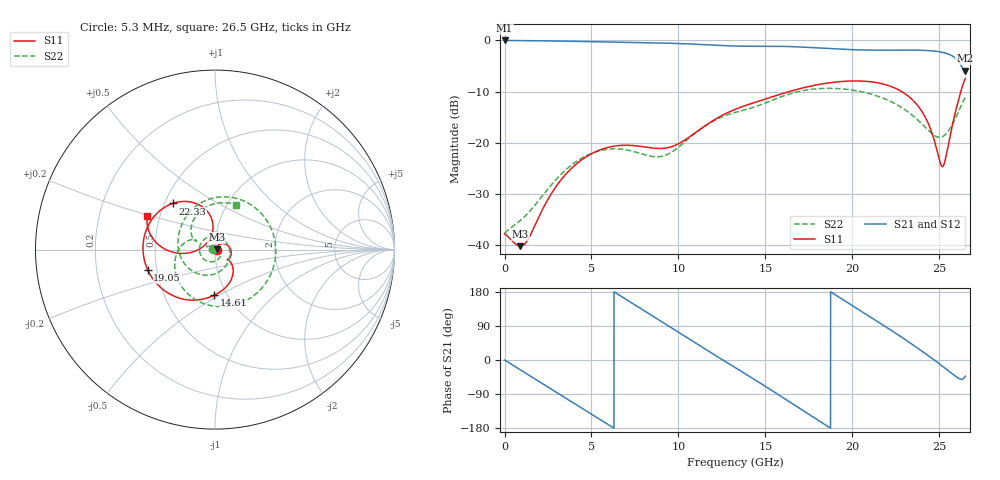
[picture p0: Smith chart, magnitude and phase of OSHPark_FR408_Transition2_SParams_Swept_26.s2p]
! TOUCHSTONE file generated by CST MICROWAVE STUDIO
! Date and time: Tue Jan  7 09:43:40 2020
! Project name: OSHPark_FR408_Transition2.cst
! Parameters = {GND_Plane_XMax=12.5; Cap_Disk_XOffset=0; Cap_Disk2_YCenter=-1.03; Cap_Disk_YCenter=1.03; Cap_Disk_XCenter=7.39; Cap_Disk_Radius=0.5; BottomSupport_Left_YMax=4.76; BottomSupport_Left_YMin=3.74; BottomSupport_Right_YMax=-3.74; BottomSupport_Right_YMin=-4.76; BottomSupport_XMax=11.64; B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
! Header version: 2015
! Port assignment regex: !\s*Touchstone port\s*([0-9]+)\s*=\s*CST MWS port\s*([0-9]+)\s*\(\"(.*)\"\)(\s*mode\s*([0-9]+))?.*
! Touchstone port assignment:
! Touchstone port 1 = CST MWS port 1 ("")
! Touchstone port 2 = CST MWS port 2 ("")
# GHz S MA R 50
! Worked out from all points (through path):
!   5000 points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, 5.3 MHz to 26.5 GHz, reference 50 ohm
!   highest |S21| = 0.00 dB at 5.3 MHz (marker M1); lowest = -5.9 dB at 26.46 GHz (marker M2)
!   group delay of S21, straight-line fit = 80.8 ps
!   lowest |S11| = -40.3 dB at 916.9 MHz (marker M3), VSWR 1.02, Z = 51 + j0.188 ohm
!   |S11| at or under -10 dB: start of sweep to 16.37 GHz; 22.84 GHz to 26.24 GHz (3.403 GHz wide, 13.9 % of centre)
!   |S22| runs from -37.7 to -9.4 dB; largest |S21 - S12| = 0
!   S11 on the Smith chart (normalised r, x): 5.3 MHz: 1.02, -0.01; 14.61 GHz: 0.87, -0.47; 19.05 GHz: 0.44, -0.12; 22.33 GHz: 0.55, +0.32; 26.5 GHz: 0.43, +0.20
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0.0053  0.01288 -22.7  0.9999 -0.2  0.9999 -0.2  0.01308 155.3
0.9169  0.0097 11.0  0.9971 -26.2  0.9971 -26.2  0.01737 87.6
2.7242  0.03232 53.0  0.9886 -77.9  0.9886 -77.9  0.03922 -28.5
4.4255  0.06766 25.7  0.9774 -126.6  0.9774 -126.6  0.07032 -103.8
5.5279  0.08542 3.8  0.9694 -158.1  0.9694 -158.1  0.08382 -147.4
6.5561  0.09363 -15.5  0.9622 172.6  0.9622 172.6  0.08673 170.9
8.8404  0.08774 -39.6  0.9456 106.9  0.9456 106.9  0.07269 50.7
10.0223  0.09789 -38.3  0.9329 72.7  0.9329 72.7  0.09082 -25.9
11.3155  0.1376 -44.2  0.9128 35.3  0.9128 35.3  0.1372 -93.0
13.2553  0.2115 -70.9  0.8814 -19.8  0.8814 -19.8  0.1975 -171.0
14.6121  0.2545 -91.1  0.8768 -58.3  0.8768 -58.3  0.2306 144.0
16.0855  0.3059 -112.9  0.8742 -101.5  0.8742 -101.5  0.2884 91.1
17.6702  0.3593 -138.9  0.851 -148.5  0.851 -148.5  0.3326 24.9
19.0535  0.3917 -163.3  0.8253 171.1  0.8253 171.1  0.3388 -33.4
20.6965  0.3992 165.7  0.8057 123.6  0.8057 123.6  0.3101 -98.0
22.0851  0.3614 137.6  0.8027 82.9  0.8027 82.9  0.2584 -146.9
22.3289  0.3489 132.5  0.8031 75.5  0.8031 75.5  0.2469 -154.8
23.9348  0.2097 100.4  0.8015 25.5  0.8015 25.5  0.1562 161.1
25.1803  0.0582 139.7  0.765 -16.3  0.765 -16.3  0.1143 156.0
25.9329  0.2011 -174.1  0.6704 -42.9  0.6704 -42.9  0.1732 140.5
26.4576  0.4102 157.5  0.5059 -45.4  0.5059 -45.4  0.2705 73.6
26.5  0.4227 152.8  0.5109 -42.7  0.5109 -42.7  0.2763 63.3
